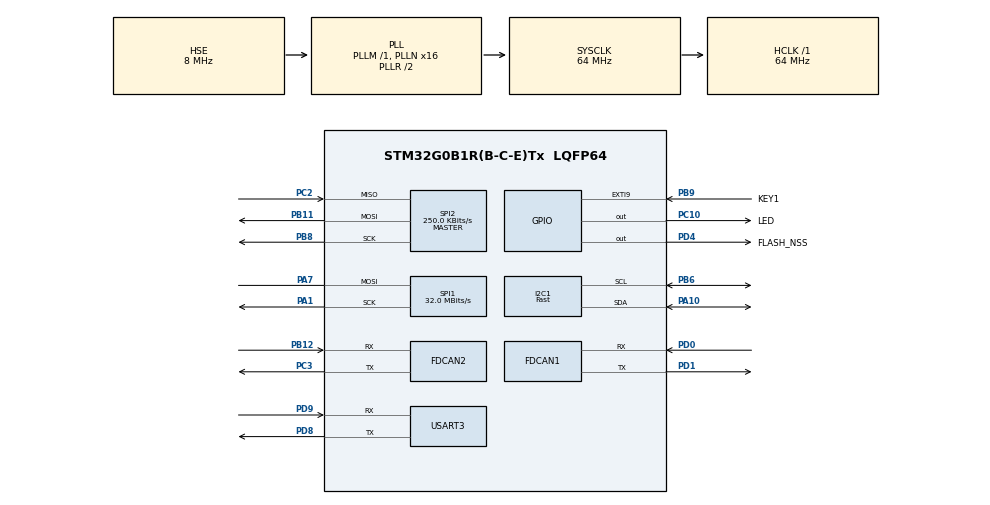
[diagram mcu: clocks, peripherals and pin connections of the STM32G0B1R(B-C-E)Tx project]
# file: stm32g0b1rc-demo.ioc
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Dma.Request0=SPI1_TX
Dma.SPI1_TX.0.Direction=DMA_MEMORY_TO_PERIPH
Dma.SPI1_TX.0.EventEnable=DISABLE
Dma.SPI1_TX.0.Instance=DMA1_Channel1
Dma.SPI1_TX.0.MemDataAlignment=DMA_MDATAALIGN_BYTE
Dma.SPI1_TX.0.MemInc=DMA_MINC_DISABLE
Dma.SPI1_TX.0.Mode=DMA_NORMAL
Dma.SPI1_TX.0.PeriphDataAlignment=DMA_PDATAALIGN_BYTE
Dma.SPI1_TX.0.PeriphInc=DMA_PINC_DISABLE
Dma.SPI1_TX.0.Polarity=HAL_DMAMUX_REQ_GEN_RISING
Dma.SPI1_TX.0.Priority=DMA_PRIORITY_LOW
Dma.SPI1_TX.0.RequestNumber=1
Dma.SPI1_TX.0.SignalID=NONE
Dma.SPI1_TX.0.SyncEnable=DISABLE
Dma.SPI1_TX.0.SyncPolarity=HAL_DMAMUX_SYNC_NO_EVENT
Dma.SPI1_TX.0.SyncRequestNumber=1
Dma.SPI1_TX.0.SyncSignalID=NONE
FDCAN1.CalculateBaudRateNominal=1000000
FDCAN1.CalculateTimeBitNominal=1000
FDCAN1.CalculateTimeQuantumNominal=250.0
FDCAN1.ClockDivider=FDCAN_CLOCK_DIV1
FDCAN1.DataPrescaler=2
FDCAN1.DataSyncJumpWidth=1
FDCAN1.DataTimeSeg1=2
FDCAN1.Mode=FDCAN_MODE_INTERNAL_LOOPBACK
FDCAN1.NominalPrescaler=16
FDCAN1.NominalTimeSeg1=2
FDCAN1.NominalTimeSeg2=1
FDCAN2.CalculateBaudRateNominal=1000000
FDCAN2.CalculateTimeBitNominal=1000
FDCAN2.CalculateTimeQuantumNominal=250.0
FDCAN2.DataPrescaler=2
FDCAN2.DataTimeSeg1=2
FDCAN2.Mode=FDCAN_MODE_INTERNAL_LOOPBACK
FDCAN2.NominalTimeSeg1=2
I2C1.I2C_Speed_Mode=I2C_Fast
I2C1.Timing=0x00C12166
Mcu.Family=STM32G0
Mcu.Name=STM32G0B1R(B-C-E)Tx
Mcu.Package=LQFP64
NVIC.DMA1_Channel1_IRQn=true\:0\:0\:false\:false\:true\:false\:true\:true
NVIC.EXTI4_15_IRQn=true\:0\:0\:false\:false\:true\:true\:true\:true
NVIC.TIM16_FDCAN_IT0_IRQn=true\:0\:0\:false\:false\:true\:true\:true\:true
PA1.GPIO_Speed=GPIO_SPEED_FREQ_VERY_HIGH
PA1.Mode=Simplex_Bidirectional_Master
PA1.PinState=GPIO_PIN_SET
PA1.Signal=SPI1_SCK
PA10.Mode=I2C
PA10.Signal=I2C1_SDA
PA13.Mode=Serial_Wire
PA13.Signal=SYS_SWDIO
PA14-BOOT0.Mode=Serial_Wire
PA14-BOOT0.Signal=SYS_SWCLK
PA7.GPIO_Speed=GPIO_SPEED_FREQ_VERY_HIGH
PA7.Mode=Simplex_Bidirectional_Master
PA7.PinState=GPIO_PIN_SET
PA7.Signal=SPI1_MOSI
PB11.Mode=Full_Duplex_Master
PB11.Signal=SPI2_MOSI
PB12.Mode=FDCAN_Activate
PB12.Signal=FDCAN2_RX
PB6.Mode=I2C
PB6.Signal=I2C1_SCL
PB8.Mode=Full_Duplex_Master
PB8.Signal=SPI2_SCK
PB9.GPIO_Label=KEY1
PB9.GPIO_ModeDefaultEXTI=GPIO_MODE_IT_FALLING
PB9.GPIO_PuPd=GPIO_PULLUP
PB9.Signal=GPXTI9
PC10.GPIO_Label=LED
PC10.PinState=GPIO_PIN_SET
PC10.Signal=GPIO_Output
PC14-OSC32_IN\ (PC14).Mode=LSE-External-Oscillator
PC14-OSC32_IN\ (PC14).Signal=RCC_OSC32_IN
PC15-OSC32_OUT\ (PC15).Mode=LSE-External-Oscillator
PC15-OSC32_OUT\ (PC15).Signal=RCC_OSC32_OUT
PC2.Mode=Full_Duplex_Master
PC2.Signal=SPI2_MISO
PC3.Mode=FDCAN_Activate
PC3.Signal=FDCAN2_TX
PD0.Mode=FDCAN_Activate
PD0.Signal=FDCAN1_RX
PD1.Mode=FDCAN_Activate
PD1.Signal=FDCAN1_TX
PD4.GPIO_Label=FLASH_NSS
PD4.PinState=GPIO_PIN_SET
PD4.Signal=GPIO_Output
PD8.Mode=Asynchronous
PD8.Signal=USART3_TX
PD9.Mode=Asynchronous
PD9.Signal=USART3_RX
PF0-OSC_IN\ (PF0).Mode=HSE-External-Oscillator
PF0-OSC_IN\ (PF0).Signal=RCC_OSC_IN
PF1-OSC_OUT\ (PF1).Mode=HSE-External-Oscillator
PF1-OSC_OUT\ (PF1).Signal=RCC_OSC_OUT
ProjectManager.HeapSize=0x200
ProjectManager.StackSize=0x400
ProjectManager.TargetToolchain=MDK-ARM V5.32
RCC.ADCFreq_Value=64000000
RCC.AHBFreq_Value=64000000
RCC.CortexFreq_Value=64000000
RCC.EXTERNAL_CLOCK_VALUE=48000
RCC.FDCANCLockSelection=RCC_FDCANCLKSOURCE_PLL
RCC.HCLKFreq_Value=64000000
RCC.HSE_VALUE=8000000
RCC.HSI48_VALUE=48000000
RCC.HSI_VALUE=16000000
RCC.PLLN=16
RCC.PLLSourceVirtual=RCC_PLLSOURCE_HSE
RCC.RTCClockSelection=RCC_RTCCLKSOURCE_LSE
RCC.SYSCLKFreq_VALUE=64000000
RCC.SYSCLKSource=RCC_SYSCLKSOURCE_PLLCLK
RCC.USBFreq_Value=48000000
RCC.VCOOutputFreq_Value=128000000
SPI1.CalculateBaudRate=32.0 MBits/s
SPI1.DataSize=SPI_DATASIZE_8BIT
SPI1.Direction=SPI_DIRECTION_1LINE
SPI1.Mode=SPI_MODE_MASTER
SPI1.NSSPMode=SPI_NSS_PULSE_DISABLE
SPI1.VirtualType=VM_MASTER
SPI2.BaudRatePrescaler=SPI_BAUDRATEPRESCALER_256
SPI2.CLKPhase=SPI_PHASE_2EDGE
SPI2.CLKPolarity=SPI_POLARITY_HIGH
SPI2.CalculateBaudRate=250.0 KBits/s
SPI2.DataSize=SPI_DATASIZE_8BIT
SPI2.Direction=SPI_DIRECTION_2LINES
SPI2.Mode=SPI_MODE_MASTER
SPI2.VirtualType=VM_MASTER
USART3.VirtualMode-Asynchronous=VM_ASYNC
VP_RTC_VS_RTC_Activate.Mode=RTC_Enabled
VP_RTC_VS_RTC_Calendar.Mode=RTC_Calendar
VP_SYS_VS_DBSignals.Mode=DisableDeadBatterySignals
board=custom

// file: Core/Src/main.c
/* USER CODE BEGIN Header */
/**
  ******************************************************************************
  * @file           : main.c
  * @brief          : Main program body
  ******************************************************************************
  * @attention
  *
  * Copyright (c) 2025 STMicroelectronics.
  * All rights reserved.
  *
  * This software is licensed under terms that can be found in the LICENSE file
  * in the root directory of this software component.
  * If no LICENSE file comes with this software, it is provided AS-IS.
  *
  ******************************************************************************
  */
/* USER CODE END Header */
#include "main.h"
#include "dma.h"
#include "fdcan.h"
#include "i2c.h"
#include "rtc.h"
#include "spi.h"
#include "usart.h"
#include "gpio.h"

/* USER CODE BEGIN Includes */
#include "lcd_demo.h"
#include "flash_demo.h"
#include "eeprom_demo.h"
/* USER CODE END Includes */

void SystemClock_Config(void);

/* USER CODE BEGIN 0 */

uint8_t buf[24];
FDCAN_RxHeaderTypeDef FDCAN1_RxHeader;
FDCAN_RxHeaderTypeDef FDCAN2_RxHeader;
void HAL_FDCAN_RxFifo0Callback(FDCAN_HandleTypeDef *hfdcan, uint32_t RxFifo0ITs);
const uint8_t data[] = {"hello"};

FDCAN_TxHeaderTypeDef FDCAN1_TxHeader;
void CAN1_SetMsg(void)
{

    uint8_t msg[8] = {1,2,3,4,5,6,7,8};
    FDCAN1_TxHeader.Identifier=  0x1234;                       //32位ID
    FDCAN1_TxHeader.IdType=FDCAN_STANDARD_ID;                  //标准ID
    FDCAN1_TxHeader.TxFrameType=FDCAN_DATA_FRAME;              //数据帧
    FDCAN1_TxHeader.DataLength=8;                              //数据长度
    FDCAN1_TxHeader.ErrorStateIndicator=FDCAN_ESI_ACTIVE;
    FDCAN1_TxHeader.BitRateSwitch=FDCAN_BRS_OFF;               //关闭速率切换
    FDCAN1_TxHeader.FDFormat=FDCAN_CLASSIC_CAN;                //传统的CAN模式
    FDCAN1_TxHeader.TxEventFifoControl=FDCAN_NO_TX_EVENTS;     //无发送事件
    FDCAN1_TxHeader.MessageMarker=0;

    HAL_FDCAN_AddMessageToTxFifoQ(&hfdcan1,&FDCAN1_TxHeader,msg);
	printf("send can1 successed\n");

}

FDCAN_TxHeaderTypeDef FDCAN2_TxHeader;
void CAN2_SetMsg(void)
{

    uint8_t msg[8] = {1,2,3,4,5,6,7,8};
    FDCAN2_TxHeader.Identifier=  0x1234;                       //32位ID
    FDCAN2_TxHeader.IdType=FDCAN_STANDARD_ID;                  //标准ID
    FDCAN2_TxHeader.TxFrameType=FDCAN_DATA_FRAME;              //数据帧
    FDCAN2_TxHeader.DataLength=8;                              //数据长度
    FDCAN2_TxHeader.ErrorStateIndicator=FDCAN_ESI_ACTIVE;
    FDCAN2_TxHeader.BitRateSwitch=FDCAN_BRS_OFF;               //关闭速率切换
    FDCAN2_TxHeader.FDFormat=FDCAN_CLASSIC_CAN;                //传统的CAN模式
    FDCAN2_TxHeader.TxEventFifoControl=FDCAN_NO_TX_EVENTS;     //无发送事件
    FDCAN2_TxHeader.MessageMarker=0;

    HAL_FDCAN_AddMessageToTxFifoQ(&hfdcan2,&FDCAN2_TxHeader,msg);
	printf("send can2 successed\n");

}

void HAL_FDCAN_RxFifo0Callback(FDCAN_HandleTypeDef *hfdcan, uint32_t RxFifo0ITs)
{
	if(hfdcan == &hfdcan1){
		printf("get can1 rx data\n");
		uint8_t i=0;
		uint8_t rxdata[8];
		if((RxFifo0ITs&FDCAN_IT_RX_FIFO0_NEW_MESSAGE)!=RESET)
		{
			HAL_FDCAN_GetRxMessage(hfdcan,FDCAN_RX_FIFO0,&FDCAN1_RxHeader,rxdata);
			printf("id:%#x ",FDCAN1_RxHeader.Identifier);
			printf("len:%d ",FDCAN1_RxHeader.DataLength>>16);
			for(i=0;i<8;i++)
			printf("rxdata[%d]:%d,",i,rxdata[i]);
			printf("\n");
			HAL_FDCAN_ActivateNotification(hfdcan,FDCAN_IT_RX_FIFO0_NEW_MESSAGE,0);
		}
	}else if(hfdcan == &hfdcan2){
		printf("get can2 rx data\n");
		uint8_t i=0;
		uint8_t rxdata[8];
		if((RxFifo0ITs&FDCAN_IT_RX_FIFO0_NEW_MESSAGE)!=RESET)
		{
			HAL_FDCAN_GetRxMessage(hfdcan,FDCAN_RX_FIFO0,&FDCAN2_RxHeader,rxdata);
			printf("id:%#x ",FDCAN1_RxHeader.Identifier);
			printf("len:%d ",FDCAN1_RxHeader.DataLength>>16);
			for(i=0;i<8;i++)
			printf("rxdata[%d]:%d",i,rxdata[i]);
			printf("\n");
			HAL_FDCAN_ActivateNotification(hfdcan,FDCAN_IT_RX_FIFO0_NEW_MESSAGE,0);
		}
	}

}

/* USER CODE END 0 */

int main(void)
{

  /* MCU Configuration--------------------------------------------------------*/

  /* Reset of all peripherals, Initializes the Flash interface and the Systick. */
  HAL_Init();

  /* Configure the system clock */
  SystemClock_Config();

  /* Initialize all configured peripherals */
  MX_GPIO_Init();
  MX_DMA_Init();
  MX_RTC_Init();
  MX_USART3_UART_Init();
  MX_I2C1_Init();
  MX_SPI2_Init();
  MX_SPI1_Init();
  MX_FDCAN1_Init();
  MX_FDCAN2_Init();

  /* Infinite loop */
  while (1)
  {

    /* USER CODE BEGIN 3 */

	CAN1_SetMsg();
	HAL_Delay(5000);
	CAN2_SetMsg();
	HAL_Delay(5000);
  }
  /* USER CODE END 3 */
}

void SystemClock_Config(void)
{
  RCC_OscInitTypeDef RCC_OscInitStruct = {0};
  RCC_ClkInitTypeDef RCC_ClkInitStruct = {0};

  /** Configure the main internal regulator output voltage
  */
  HAL_PWREx_ControlVoltageScaling(PWR_REGULATOR_VOLTAGE_SCALE1);

  /** Configure LSE Drive Capability
  */
  HAL_PWR_EnableBkUpAccess();
  __HAL_RCC_LSEDRIVE_CONFIG(RCC_LSEDRIVE_LOW);

  /** Initializes the RCC Oscillators according to the specified parameters
  * in the RCC_OscInitTypeDef structure.
  */
  RCC_OscInitStruct.OscillatorType = RCC_OSCILLATORTYPE_HSE|RCC_OSCILLATORTYPE_LSE;
  RCC_OscInitStruct.HSEState = RCC_HSE_ON;
  RCC_OscInitStruct.LSEState = RCC_LSE_ON;
  RCC_OscInitStruct.PLL.PLLState = RCC_PLL_ON;
  RCC_OscInitStruct.PLL.PLLSource = RCC_PLLSOURCE_HSE;
  RCC_OscInitStruct.PLL.PLLM = RCC_PLLM_DIV1;
  RCC_OscInitStruct.PLL.PLLN = 16;
  RCC_OscInitStruct.PLL.PLLP = RCC_PLLP_DIV2;
  RCC_OscInitStruct.PLL.PLLQ = RCC_PLLQ_DIV2;
  RCC_OscInitStruct.PLL.PLLR = RCC_PLLR_DIV2;
  if (HAL_RCC_OscConfig(&RCC_OscInitStruct) != HAL_OK)
  {
    Error_Handler();
  }

  /** Initializes the CPU, AHB and APB buses clocks
  */
  RCC_ClkInitStruct.ClockType = RCC_CLOCKTYPE_HCLK|RCC_CLOCKTYPE_SYSCLK
                              |RCC_CLOCKTYPE_PCLK1;
  RCC_ClkInitStruct.SYSCLKSource = RCC_SYSCLKSOURCE_PLLCLK;
  RCC_ClkInitStruct.AHBCLKDivider = RCC_SYSCLK_DIV1;
  RCC_ClkInitStruct.APB1CLKDivider = RCC_HCLK_DIV1;

  if (HAL_RCC_ClockConfig(&RCC_ClkInitStruct, FLASH_LATENCY_2) != HAL_OK)
  {
    Error_Handler();
  }
}

void Error_Handler(void)
{
  __disable_irq();
  while (1)
  {
  }
}
